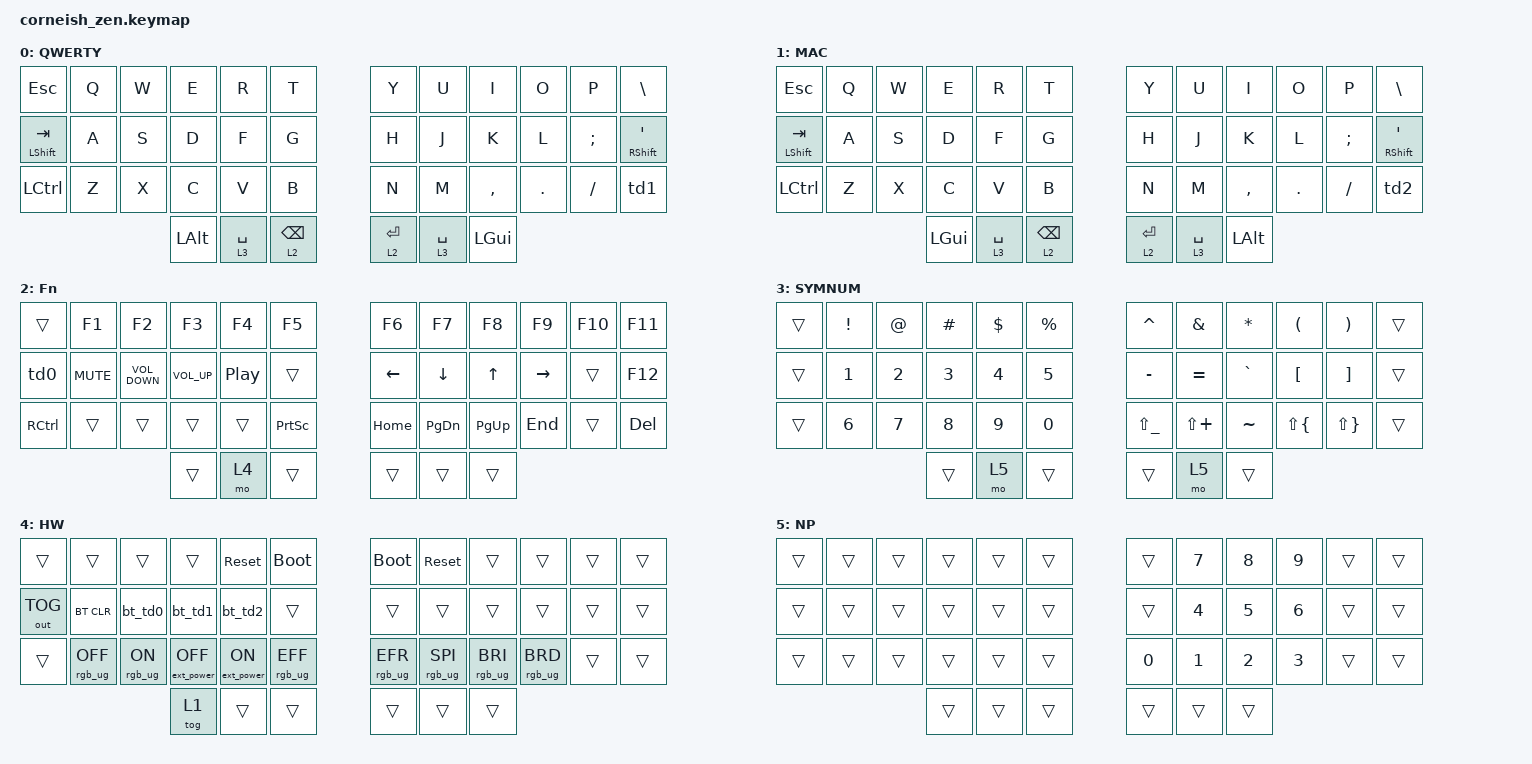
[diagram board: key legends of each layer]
/*
 * Copyright (c) 2020 The ZMK Contributors
 *
 * SPDX-License-Identifier: MIT
 */

#include <behaviors.dtsi>
#include <dt-bindings/zmk/bt.h>
#include <dt-bindings/zmk/ext_power.h>
#include <dt-bindings/zmk/keys.h>
#include <dt-bindings/zmk/outputs.h>
#include <dt-bindings/zmk/rgb.h>

&lt {
    flavor = "tap-preferred";
    tapping-term-ms = <125>;
    quick-tap-ms = <100>;
};

&mt {
    flavor = "hold-preferred";
    tapping-term-ms = <125>;
};

/ {
    chosen {
        zmk,matrix_transform = &default_transform;

        // zmk,matrix_transform = &five_column_transform;
    };
};

/ {
    behaviors {
        td0: td0 {
            compatible = "zmk,behavior-tap-dance";
            label = "TD0";
            #binding-cells = <0>;
            bindings = <&kp LEFT_SHIFT>, <&kp CAPS>;
        };

        td1: td1 {
            compatible = "zmk,behavior-tap-dance";
            label = "win_mod_shift";
            #binding-cells = <0>;
            bindings =
                <&sk LA(LEFT_SHIFT)>,
                <&sk LC(LEFT_SHIFT)>,
                <&sk LG(LEFT_SHIFT)>;
        };

        bt_td0: bt_td0 {
            compatible = "zmk,behavior-tap-dance";
            label = "BT_TD0";
            #binding-cells = <0>;
            bindings = <&bt BT_SEL 0>, <&bt BT_DISC 0>;
        };

        bt_td1: bt_td1 {
            compatible = "zmk,behavior-tap-dance";
            label = "BT_TD1";
            #binding-cells = <0>;
            bindings = <&bt BT_SEL 1>, <&bt BT_DISC 1>;
        };

        bt_td2: bt_td2 {
            compatible = "zmk,behavior-tap-dance";
            label = "BT_TD2";
            #binding-cells = <0>;
            bindings = <&bt BT_SEL 2>, <&bt BT_DISC 2>;
        };

        td2: td2 {
            compatible = "zmk,behavior-tap-dance";
            label = "mac_mod_shift";
            #binding-cells = <0>;
            bindings =
                <&sk LG(LEFT_SHIFT)>,
                <&sk LC(LEFT_SHIFT)>,
                <&sk LA(LEFT_SHIFT)>;
        };

        shift_apostrophe: shift_apostrophe {
            compatible = "zmk,behavior-hold-tap";
            label = "SHIFT_APOSTROPHE";
            bindings = <&kp>, <&kp>;

            #binding-cells = <2>;
            tapping-term-ms = <150>;
            flavor = "tap-preferred";
        };
    };

    keymap {
        compatible = "zmk,keymap";

        default_layer {
            display-name = "QWERTY";

            // --------------------------------------------------------------------------------
            // |  TAB |  Q  |  W  |  E  |  R  |  T  |   |  Y  |  U   |  I  |  O  |  P  | BKSP |
            // | CTRL |  A  |  S  |  D  |  F  |  G  |   |  H  |  J   |  K  |  L  |  ;  |  '   | 
            // | SHFT |  Z  |  X  |  C  |  V  |  B  |   |  N  |  M   |  ,  |  .  |  /  | ESC  |
            //                    | GUI | LWR | SPC |   | ENT | RSE  | ALT |

            bindings = <
&kp ESCAPE          &kp Q  &kp W  &kp E         &kp R        &kp T              &kp Y        &kp U        &kp I         &kp O    &kp P     &kp BACKSLASH
&mt LEFT_SHIFT TAB  &kp A  &kp S  &kp D         &kp F        &kp G              &kp H        &kp J        &kp K         &kp L    &kp SEMI  &shift_apostrophe RIGHT_SHIFT APOSTROPHE
&kp LEFT_CONTROL    &kp Z  &kp X  &kp C         &kp V        &kp B              &kp N        &kp M        &kp COMMA     &kp DOT  &kp FSLH  &td1
                                  &kp LEFT_ALT  &lt 3 SPACE  &lt 2 BACKSPACE    &lt 2 ENTER  &lt 3 SPACE  &kp LEFT_GUI
            >;
        };

        mac_layer {
            display-name = "MAC";
            bindings = <
&kp ESCAPE          &kp Q  &kp W  &kp E     &kp R        &kp T              &kp Y        &kp U        &kp I         &kp O    &kp P     &kp BACKSLASH
&mt LEFT_SHIFT TAB  &kp A  &kp S  &kp D     &kp F        &kp G              &kp H        &kp J        &kp K         &kp L    &kp SEMI  &shift_apostrophe RIGHT_SHIFT APOSTROPHE
&kp LEFT_CONTROL    &kp Z  &kp X  &kp C     &kp V        &kp B              &kp N        &kp M        &kp COMMA     &kp DOT  &kp FSLH  &td2
                                  &kp LGUI  &lt 3 SPACE  &lt 2 BACKSPACE    &lt 2 ENTER  &lt 3 SPACE  &kp LEFT_ALT
            >;
        };

        fn_layer {
            display-name = "Fn";
            bindings = <
&trans     &kp F1      &kp F2             &kp F3           &kp F4            &kp F5             &kp F6    &kp F7         &kp F8       &kp F9     &kp F10  &kp F11
&td0       &kp C_MUTE  &kp C_VOLUME_DOWN  &kp C_VOLUME_UP  &kp C_PLAY_PAUSE  &trans             &kp LEFT  &kp DOWN       &kp UP       &kp RIGHT  &trans   &kp F12
&kp RCTRL  &trans      &trans             &trans           &trans            &kp PRINTSCREEN    &kp HOME  &kp PAGE_DOWN  &kp PAGE_UP  &kp END    &trans   &kp DELETE
                                          &trans           &mo 4             &trans             &trans    &trans         &trans
            >;
        };

        symnum_layer {
            bindings = <
&trans  &kp EXCLAMATION  &kp AT_SIGN  &kp HASH  &kp DOLLAR  &kp PERCENT    &kp CARET      &kp AMPERSAND  &kp ASTERISK  &kp LEFT_PARENTHESIS  &kp RIGHT_PARENTHESIS  &trans
&trans  &kp N1           &kp N2       &kp N3    &kp N4      &kp N5         &kp MINUS      &kp EQUAL      &kp GRAVE     &kp LBKT              &kp RBKT               &trans
&trans  &kp N6           &kp N7       &kp N8    &kp N9      &kp N0         &kp LS(UNDER)  &kp LS(PLUS)   &kp TILDE     &kp LS(LBRC)          &kp LS(RBRC)           &trans
                                      &trans    &mo 5       &trans         &trans         &mo 5          &trans
            >;

            label = "SYMNUM";
        };

        hw_layer {
            display-name = "HW";

            // -----------------------------------------------------------------------------------------
            // |  TAB |  1  |  2  |  3  |  4  |  5  |   |  6  |  7  |  8  |  9  |  0  | BKSP |
            // | BTCLR| BT1 | BT2 | BT3 | BT4 | BT5 |   | LFT | DWN |  UP | RGT |     |      |
            // | SHFT |     |     |     |     |     |   |     |     |     |     |     |      |
            //                    | GUI |     | SPC |   | ENT |     | ALT |

            bindings = <
&trans        &trans           &trans          &trans             &sys_reset        &bootloader        &bootloader      &sys_reset       &trans           &trans           &trans  &trans
&out OUT_TOG  &bt BT_CLR       &bt_td0         &bt_td1            &bt_td2           &trans             &trans           &trans           &trans           &trans           &trans  &trans
&trans        &rgb_ug RGB_OFF  &rgb_ug RGB_ON  &ext_power EP_OFF  &ext_power EP_ON  &rgb_ug RGB_EFF    &rgb_ug RGB_EFR  &rgb_ug RGB_SPI  &rgb_ug RGB_BRI  &rgb_ug RGB_BRD  &trans  &trans
                                               &tog 1             &trans            &trans             &trans           &trans           &trans
            >;
        };

        numpad {
            bindings = <
&trans  &trans  &trans  &trans  &trans  &trans    &trans  &kp N7  &kp N8  &kp N9  &trans  &trans
&trans  &trans  &trans  &trans  &trans  &trans    &trans  &kp N4  &kp N5  &kp N6  &trans  &trans
&trans  &trans  &trans  &trans  &trans  &trans    &kp N0  &kp N1  &kp N2  &kp N3  &trans  &trans
                        &trans  &trans  &trans    &trans  &trans  &trans
            >;

            label = "NP";
        };
    };
};
